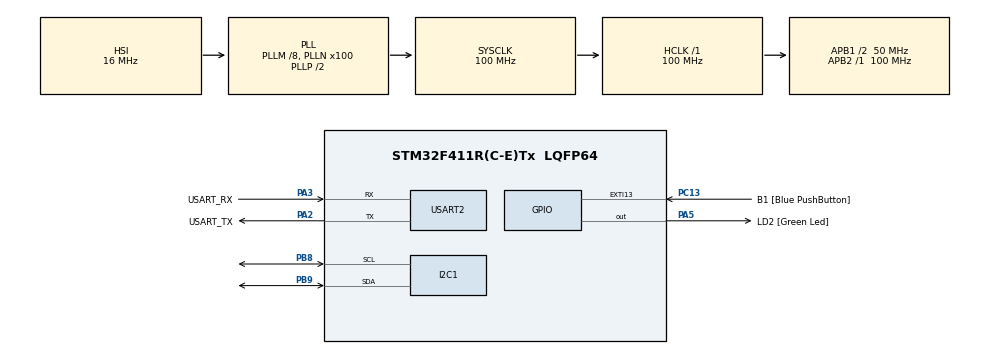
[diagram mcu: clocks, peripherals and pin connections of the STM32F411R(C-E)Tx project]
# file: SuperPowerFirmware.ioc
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I2C1.DualAddressMode=I2C_DUALADDRESS_ENABLE
I2C1.DutyCycle=I2C_DUTYCYCLE_16_9
I2C1.I2C_Mode=I2C_Fast
I2C1.NoStretchMode=I2C_NOSTRETCH_ENABLE
I2C1.OwnAddress=20
I2C1.OwnAddress2=21
Mcu.Family=STM32F4
Mcu.Name=STM32F411R(C-E)Tx
Mcu.Package=LQFP64
NVIC.I2C1_ER_IRQn=true\:0\:0\:false\:false\:true\:true\:true
NVIC.I2C1_EV_IRQn=true\:0\:0\:false\:false\:true\:true\:true
NVIC.PriorityGroup=NVIC_PRIORITYGROUP_4
PA13.GPIO_Label=TMS
PA13.Mode=Serial_Wire
PA13.Signal=SYS_JTMS-SWDIO
PA14.GPIO_Label=TCK
PA14.Mode=Serial_Wire
PA14.Signal=SYS_JTCK-SWCLK
PA2.GPIO_Label=USART_TX
PA2.Mode=Asynchronous
PA2.Signal=USART2_TX
PA3.GPIO_Label=USART_RX
PA3.Mode=Asynchronous
PA3.Signal=USART2_RX
PA5.GPIO_Label=LD2 [Green Led]
PA5.Signal=GPIO_Output
PB3.GPIO_Label=SWO
PB3.Signal=SYS_JTDO-SWO
PB8.Mode=I2C
PB8.Signal=I2C1_SCL
PB9.Mode=I2C
PB9.Signal=I2C1_SDA
PC13-ANTI_TAMP.GPIO_Label=B1 [Blue PushButton]
PC13-ANTI_TAMP.GPIO_ModeDefaultEXTI=GPIO_MODE_IT_FALLING
PC13-ANTI_TAMP.Signal=GPXTI13
PC14-OSC32_IN.Mode=LSE-External-Oscillator
PC14-OSC32_IN.Signal=RCC_OSC32_IN
PC15-OSC32_OUT.Mode=LSE-External-Oscillator
PC15-OSC32_OUT.Signal=RCC_OSC32_OUT
PH0\ -\ OSC_IN.Mode=HSE-External-Clock-Source
PH0\ -\ OSC_IN.Signal=RCC_OSC_IN
PH1\ -\ OSC_OUT.Mode=HSE-External-Clock-Source
PH1\ -\ OSC_OUT.Signal=RCC_OSC_OUT
ProjectManager.HeapSize=0x200
ProjectManager.StackSize=0x400
ProjectManager.TargetToolchain=Makefile
RCC.48MHZClocksFreq_Value=50000000
RCC.AHBFreq_Value=100000000
RCC.APB1CLKDivider=RCC_HCLK_DIV2
RCC.APB1Freq_Value=50000000
RCC.APB1TimFreq_Value=100000000
RCC.APB2Freq_Value=100000000
RCC.APB2TimFreq_Value=100000000
RCC.CortexFreq_Value=100000000
RCC.FLatency-AdvancedSettings=FLASH_LATENCY_3
RCC.HCLKFreq_Value=100000000
RCC.HSE_VALUE=8000000
RCC.HSI_VALUE=16000000
RCC.PLLM=8
RCC.PLLN=100
RCC.RCC_RTC_Clock_Source=RCC_RTCCLKSOURCE_LSE
RCC.RCC_RTC_Clock_SourceVirtual=RCC_RTCCLKSOURCE_LSE
RCC.SYSCLKFreq_VALUE=100000000
RCC.SYSCLKSource=RCC_SYSCLKSOURCE_PLLCLK
RCC.VCOOutputFreq_Value=200000000
USART2.VirtualMode=VM_ASYNC
VP_RTC_VS_RTC_Activate.Mode=RTC_Enabled
VP_RTC_VS_RTC_Calendar.Mode=RTC_Calendar
board=NUCLEO-F411RE

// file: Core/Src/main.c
/* USER CODE BEGIN Header */
/**
  ******************************************************************************
  * @file           : main.c
  * @brief          : Main program body
  ******************************************************************************
  * @attention
  *
  * <h2><center>&copy; Copyright (c) 2020 STMicroelectronics.
  * All rights reserved.</center></h2>
  *
  * This software component is licensed by ST under BSD 3-Clause license,
  * the "License"; You may not use this file except in compliance with the
  * License. You may obtain a copy of the License at:
  *                        opensource.org/licenses/BSD-3-Clause
  *
  ******************************************************************************
  */
/* USER CODE END Header */
#include "main.h"
#include "i2c.h"
#include "rtc.h"
#include "usart.h"
#include "gpio.h"

void SystemClock_Config(void);
/* USER CODE BEGIN PFP */
uint8_t i2cdata[10];
enum State { stop, waiting, getRegisterAddress, getData, sendData };
enum State transferState = stop;
#define SLAVE_CHIP_NAME     0
#define SLAVE_CHIP_REVISION 1
#define SLAVE_LAST_INFO     SLAVE_CHIP_REVISION
__IO uint8_t transferDirection = 0;
uint8_t slaveReceiveBuffer[15];
uint8_t* slaveTransmitBuffer;
__IO uint8_t slaveReceiveIndex = 0;
__IO uint8_t slaveInfoIndex = 0xFF;
__IO uint16_t sizeOfData;
const char* aCommandCode[4][4] = {
  {"N", "YES"},
  {"R", "YES"},
  {"LOW_POWER", "NO"},
  {"WAKE_UP", "NO"}};

RTC_TimeTypeDef time;
RTC_DateTypeDef date;
char timebuffer[] = {0,0,0,0,0,0,0,0,0,0,0};

const char* aSlaveInfo[]      = {
  "STM32F401xx",
  "1.2.3"};
/* USER CODE END PFP */

/* USER CODE BEGIN 0 */
char* getRegister(uint8_t reg){
  char* ptr = NULL;
  HAL_RTC_GetTime(&hrtc, &time, RTC_FORMAT_BCD);
  HAL_RTC_GetDate(&hrtc, &date, RTC_FORMAT_BCD);
  timebuffer[0] = time.Seconds;
  timebuffer[1] = time.Minutes;
  timebuffer[2] = time.Hours;
  timebuffer[3] = date.Date;
  timebuffer[4] = date.Month;
  timebuffer[5] = date.Year;
  if(reg >= 0 && reg <= 5){
    ptr = &timebuffer[(uint8_t)reg];
  }
  return ptr;
}

void HAL_I2C_AddrCallback(I2C_HandleTypeDef *hi2c, uint8_t TransferDirection, uint16_t AddrMatchCode){
  switch(TransferDirection){
  case I2C_DIRECTION_TRANSMIT:
    HAL_I2C_Slave_Seq_Receive_IT(&hi2c1, slaveReceiveBuffer, 10, I2C_FIRST_FRAME);
    break;
  case I2C_DIRECTION_RECEIVE:
    switch(AddrMatchCode >> 1){
    case 20:
      slaveTransmitBuffer = (uint8_t*)getRegister(slaveReceiveBuffer[0]);
      sizeOfData = 5;
      HAL_I2C_Slave_Seq_Transmit_IT(&hi2c1, slaveTransmitBuffer, sizeOfData, I2C_LAST_FRAME);
      break;
    case 0x21:
      break;
    }
    break;
  }
}

void HAL_I2C_ListenCpltCallback(I2C_HandleTypeDef *hi2c) {
  //slaveReceiveIndex = 0;
  //slaveInfoIndex = 0xFF;
  HAL_I2C_EnableListen_IT(&hi2c1); // Restart
}
/* USER CODE END 0 */

int main(void)
{

  /* MCU Configuration--------------------------------------------------------*/

  /* Reset of all peripherals, Initializes the Flash interface and the Systick. */
  HAL_Init();

  /* Configure the system clock */
  SystemClock_Config();

  /* Initialize all configured peripherals */
  MX_GPIO_Init();
  MX_I2C1_Init();
  MX_RTC_Init();
  MX_USART2_UART_Init();
  /* USER CODE BEGIN 2 */
  HAL_I2C_EnableListen_IT(&hi2c1);
  /* USER CODE END 2 */

  /* Infinite loop */
  while (1)
  {

  }
}

void SystemClock_Config(void)
{
  RCC_OscInitTypeDef RCC_OscInitStruct = {0};
  RCC_ClkInitTypeDef RCC_ClkInitStruct = {0};
  RCC_PeriphCLKInitTypeDef PeriphClkInitStruct = {0};

  /** Configure the main internal regulator output voltage
  */
  __HAL_RCC_PWR_CLK_ENABLE();
  __HAL_PWR_VOLTAGESCALING_CONFIG(PWR_REGULATOR_VOLTAGE_SCALE1);
  /** Initializes the RCC Oscillators according to the specified parameters
  * in the RCC_OscInitTypeDef structure.
  */
  RCC_OscInitStruct.OscillatorType = RCC_OSCILLATORTYPE_HSI|RCC_OSCILLATORTYPE_LSE;
  RCC_OscInitStruct.LSEState = RCC_LSE_ON;
  RCC_OscInitStruct.HSIState = RCC_HSI_ON;
  RCC_OscInitStruct.HSICalibrationValue = RCC_HSICALIBRATION_DEFAULT;
  RCC_OscInitStruct.PLL.PLLState = RCC_PLL_ON;
  RCC_OscInitStruct.PLL.PLLSource = RCC_PLLSOURCE_HSI;
  RCC_OscInitStruct.PLL.PLLM = 8;
  RCC_OscInitStruct.PLL.PLLN = 100;
  RCC_OscInitStruct.PLL.PLLP = RCC_PLLP_DIV2;
  RCC_OscInitStruct.PLL.PLLQ = 4;
  if (HAL_RCC_OscConfig(&RCC_OscInitStruct) != HAL_OK)
  {
    Error_Handler();
  }
  /** Initializes the CPU, AHB and APB buses clocks
  */
  RCC_ClkInitStruct.ClockType = RCC_CLOCKTYPE_HCLK|RCC_CLOCKTYPE_SYSCLK
    |RCC_CLOCKTYPE_PCLK1|RCC_CLOCKTYPE_PCLK2;
  RCC_ClkInitStruct.SYSCLKSource = RCC_SYSCLKSOURCE_PLLCLK;
  RCC_ClkInitStruct.AHBCLKDivider = RCC_SYSCLK_DIV1;
  RCC_ClkInitStruct.APB1CLKDivider = RCC_HCLK_DIV2;
  RCC_ClkInitStruct.APB2CLKDivider = RCC_HCLK_DIV1;

  if (HAL_RCC_ClockConfig(&RCC_ClkInitStruct, FLASH_LATENCY_3) != HAL_OK)
  {
    Error_Handler();
  }
  PeriphClkInitStruct.PeriphClockSelection = RCC_PERIPHCLK_RTC;
  PeriphClkInitStruct.RTCClockSelection = RCC_RTCCLKSOURCE_LSE;
  if (HAL_RCCEx_PeriphCLKConfig(&PeriphClkInitStruct) != HAL_OK)
  {
    Error_Handler();
  }
}

void Error_Handler(void)
{
}

/************************ (C) COPYRIGHT STMicroelectronics *****END OF FILE****/
